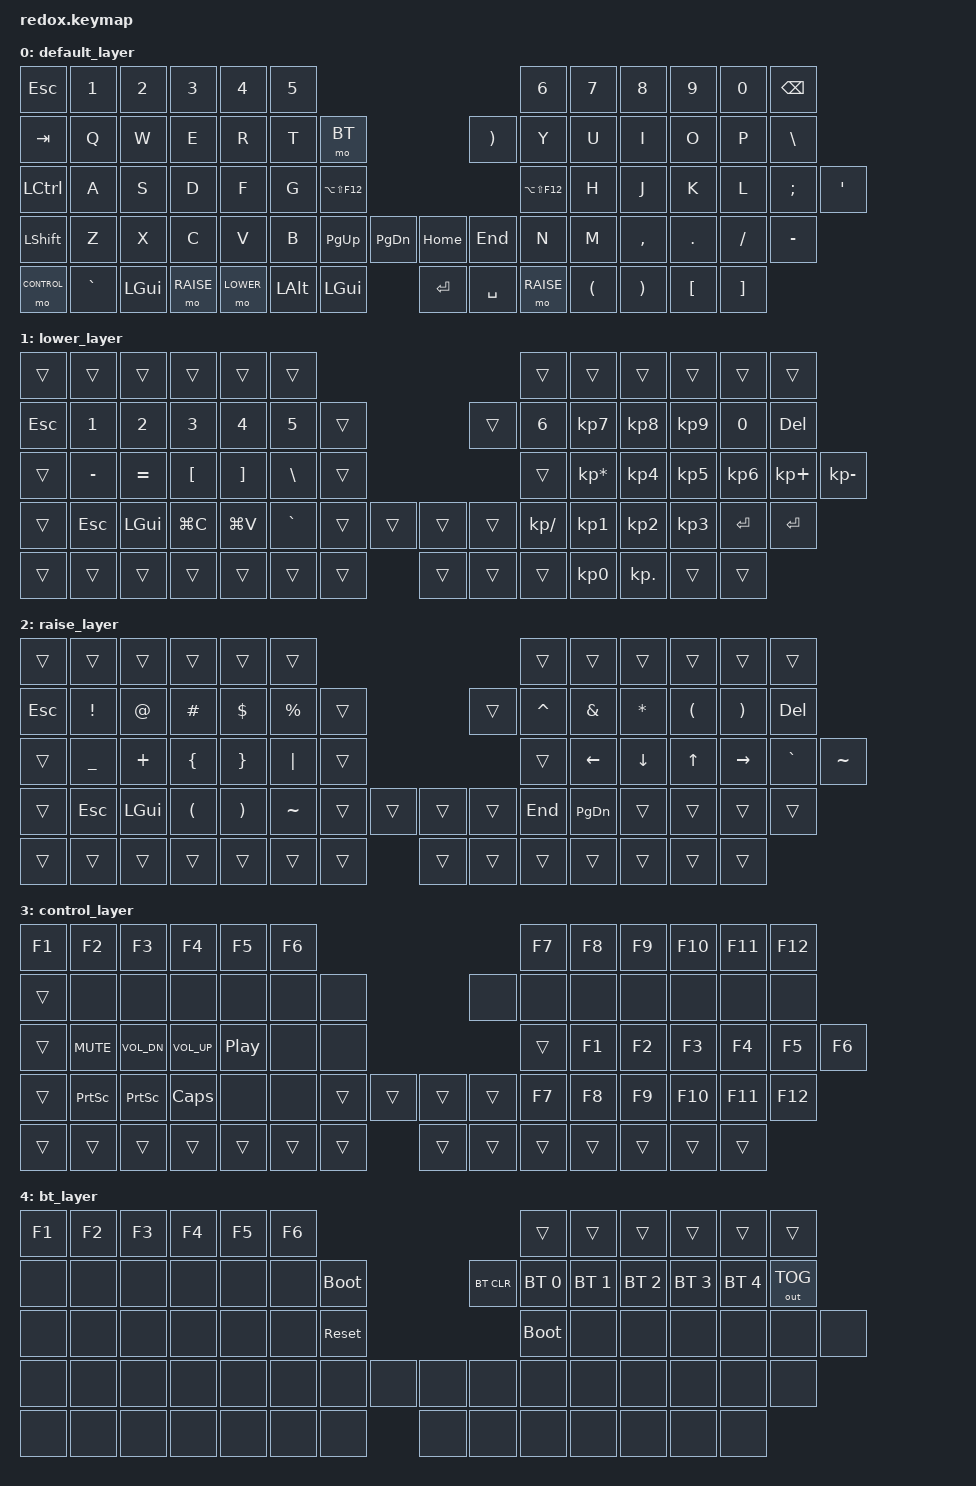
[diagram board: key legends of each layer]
/* vim: set syntax=c: */
/*
 * Copyright (c) 2021 The ZMK Contributors
 *
 * SPDX-License-Identifier: MIT
 */

#include <behaviors.dtsi>
#include <dt-bindings/zmk/keys.h>
#include <dt-bindings/zmk/bt.h>
#include <dt-bindings/zmk/ext_power.h>
#include <dt-bindings/zmk/outputs.h>

#define DEFAULT 0
#define LOWER 1
#define RAISE 2
#define CONTROL 3
#define BT 4

/ {
    keymap {
        compatible =  "zmk,keymap" ;

        default_layer {
// ,-------------------------------------------.                     ,-------------------------------------------.
// |  Esc   |  1   |  2   |  3   |  4   |  5   |                     |  6   |  7   |  8   |  9   |  0   | Bckspc |
// |--------+------+------+------+------+-------------.       ,------+------+------+------+------+------+--------|
// |  Tab   |   Q  |   W  |   E  |   R  |   T  |  L4  |       |  )   |   Y  |   U  |   I  |   O  |   P  | \   |  |
// |--------+------+------+------+------+------|------|       |------|------+------+------+------+------+--------|
// |  Ctrl  |   A  |   S  |  D   |   F  |   G  |      |       |      |   H  |   J  |   K  |   L  | ;  : |  ' "   |
// |--------+------+------+------+------+------| DICT |       | DICT |------+------+------+------+------+--------|
// | LShift |   Z  |   X  |   C  |   V  |   B  |      |       |      |   N  |   M  | ,  < | . >  | /  ? |  - _   |
// `--------+------+------+------+------+-------------'       `-------------+------+------+------+------+--------'
//   |  L3  |  `~  | GUI  |  L2  |  L1    |                               |   L2   |  (   |  )   |  [   |  ]   |
//   `------------------------------------'                               '-----------------------------------'
//                                    ,---------------.       ,---------------.
//                                    | PgUp  | PgDn  |       | Home  | End   |
//                                    ,-------|-------|       ,-------|-------|
//                                    |       |       |       |       |       |
//                                    |  Alt  |  GUI  |       | Enter | Space |
//                                    |       |       |       |       |       |
//                                    `---------------`       `---------------`
            bindings = <
&kp ESC     &kp N1    &kp N2    &kp N3  &kp N4  &kp N5                                              &kp N6     &kp N7    &kp N8     &kp N9    &kp N0     &kp BSPC
&kp TAB     &kp Q     &kp W     &kp E   &kp R   &kp T   &mo BT                           &kp RPAR   &kp Y      &kp U     &kp I      &kp O     &kp P      &kp BACKSLASH
// Dictation push-to-talk. A real modified keycode, not F13: F13 reaches evdev
// but xkb drops it, so Wayland apps never see it and OpenWhispr's hotkey
// capture can't record it.
&kp LCTRL   &kp A     &kp S     &kp D   &kp F   &kp G   &kp LA(LS(F12))                    &kp LA(LS(F12))        &kp H  &kp J  &kp K   &kp L     &kp SEMI   &kp SQT
&kp LSHFT   &kp Z     &kp X     &kp C   &kp V   &kp B   &kp PG_UP  &kp PG_DN  &kp HOME   &kp END    &kp N      &kp M     &kp COMMA  &kp DOT   &kp SLASH  &kp MINUS
&mo CONTROL &kp GRAVE &kp LGUI &mo RAISE &mo LOWER      &kp LALT   &kp LGUI   &kp ENTER  &kp SPACE  &mo RAISE  &kp LPAR  &kp RPAR   &kp LBKT  &kp RBKT
            >;

        };
        
        lower_layer {
// ,-------------------------------------------.                     ,-------------------------------------------.
// |        |      |      |      |      |      |                     |      |      |      |      |      |        |
// |--------+------+------+------+------+-------------.       ,------+------+------+------+------+------+--------|
// |        |   1  |   2  |   3  |   4  |   5  |      |       |      |   6  |  7   |  8   |  9   |  0   |  DEL   |
// |--------+------+------+------+------+------|------|       |------|------+------+------+------+------+--------|
// |        |   -  |   =  |  [   |   ]  |   \  |      |       |      |   *  |  4   |  5   |  6   |  +   |   -    |
// |--------+------+------+------+------+------|      |       |      |------+------+------+------+------+--------|
// |        | Esc  | GUI  | COPY |PASTE |  `~  |      |       |      |   \  |   1  |  2   |  3   | RET  |  RET   |
// `--------+------+------+------+------+-------------'       `-------------+------+------+------+------+--------'
//   |      |      |      |      |        |                               |        |  0   |  .   |      |      |
//   `------------------------------------'                               '-----------------------------------'
//                                    ,---------------.       ,---------------.
//                                    |       |       |       |       |       |
//                                    ,-------|-------|       ,-------|-------|
//                                    |       |       |       |       |       |
//                                    |       |       |       |       |       |
//                                    |       |       |       |       |       |
//                                    `---------------`       `---------------`
            bindings = <
   &trans  &trans    &trans    &trans    &trans    &trans                                &trans          &trans    &trans    &trans    &trans      &trans
   &kp ESC &kp N1    &kp N2    &kp N3    &kp N4    &kp N5    &trans               &trans &kp N6          &kp KP_N7 &kp KP_N8 &kp KP_N9 &kp N0      &kp DEL
   &trans  &kp MINUS &kp EQUAL &kp LBKT  &kp RBKT  &kp BSLH  &trans               &trans &kp KP_MULTIPLY &kp KP_N4 &kp KP_N5 &kp KP_N6 &kp KP_PLUS &kp KP_MINUS
   &trans  &kp ESC   &kp LGUI  &kp LG(C) &kp LG(V) &kp GRAVE &trans &trans &trans &trans &kp KP_DIVIDE   &kp KP_N1 &kp KP_N2 &kp KP_N3 &kp RET     &kp RET
   &trans  &trans    &trans    &trans          &trans        &trans &trans &trans &trans          &trans           &kp KP_N0    &kp KP_DOT &trans      &trans
            >;
        };

        raise_layer {
// ,-------------------------------------------.                     ,-------------------------------------------.
// |        |      |      |      |      |      |                     |      |      |      |      |      |        |
// |--------+------+------+------+------+-------------.       ,------+------+------+------+------+------+--------|
// |  ESC   |   !  |   @  |   #  |  $   |  %   |      |       |      |   ^  |  &   |  *   |  (   |  )   |  DEL   |
// |--------+------+------+------+------+------|------|       |------|------+------+------+------+------+--------|
// |        |   _  |   +  |  {   |  }   |  |   |      |       |      | Left | Down |  Up  |Right |  `   |   ~    |
// |--------+------+------+------+------+------|      |       |      |------+------+------+------+------+--------|
// |        | Esc  | GUI  |  (   |  )   |  ~   |      |       |      |      |      |      |      |      |        |
// `--------+------+------+------+------+-------------'       `-------------+------+------+------+------+--------'
//   |      |      |      |      |        |                               |        |      |      |      |      |
//   `------------------------------------'                               '-----------------------------------'
//                                    ,---------------.       ,---------------.
//                                    |       |       |       |       |       |
//                                    ,-------|-------|       ,-------|-------|
//                                    |       |       |       |       |       |
//                                    |       |       |       |       |       |
//                                    |       |       |       |       |       |
//                                    `---------------`       `---------------`
            bindings = <
   &trans  &trans    &trans   &trans   &trans   &trans                                &trans    &trans    &trans    &trans    &trans    &trans
   &kp ESC &kp EXCL  &kp AT   &kp HASH &kp DLLR &kp PRCNT &trans               &trans &kp CARET &kp AMPS  &kp ASTRK &kp LPAR  &kp RPAR  &kp DEL
   &trans  &kp UNDER &kp PLUS &kp LBRC &kp RBRC &kp PIPE  &trans               &trans &kp LEFT  &kp DOWN  &kp UP    &kp RIGHT &kp GRAVE &kp TILDE
   &trans  &kp ESC   &kp LGUI &kp LPAR &kp RPAR &kp TILDE &trans &trans &trans &trans &kp END   &kp PG_DN &trans    &trans    &trans    &trans
   &trans  &trans    &trans   &trans        &trans        &trans &trans &trans &trans        &trans       &trans    &trans    &trans    &trans
            >;
        };
        
        control_layer {
// ,-------------------------------------------.                     ,-------------------------------------------.
// |   F1   |  F2  |  F3  |  F4  |  F5  |  F6  |                     |  F7  |  F8  |  F9  | F10  | F11  |  F12   |
// |--------+------+------+------+------+-------------.       ,------+------+------+------+------+------+--------|
// |        |      |      |      |      |      |      |       |      |      |      |      |      |      |        |
// |--------+------+------+------+------+------|------|       |------|------+------+------+------+------+--------|
// |        | Mute |VolDn |VolUp | Play |      |      |       |      |  F1  |  F2  |  F3  |  F4  |  F5  |  F6    |
// |--------+------+------+------+------+------|      |       |      |------+------+------+------+------+--------|
// |        |PrtSc |PrtSc | CLCK |      |      |      |       |      |  F7  |  F8  |  F9  | F10  | F11  |  F12   |
// `--------+------+------+------+------+-------------'       `-------------+------+------+------+------+--------'
//   |      |      |      |      |        |                               |        |      |      |      |      |
//   `------------------------------------'                               '-----------------------------------'
//                                    ,---------------.       ,---------------.
//                                    |       |       |       |       |       |
//                                    ,-------|-------|       ,-------|-------|
//                                    |       |       |       |       |       |
//                                    |       |       |       |       |       |
//                                    |       |       |       |       |       |
//                                    `---------------`       `---------------`
        bindings = <
   &kp F1  &kp F2     &kp F3       &kp F4       &kp F5           &kp F6                                 &kp F7       &kp F8       &kp F9       &kp F10      &kp F11       &kp F12
   &trans  &none      &none        &none        &none            &none  &none                &none      &none        &none        &none        &none        &none         &none
   &trans  &kp K_MUTE &kp C_VOL_DN &kp C_VOL_UP &kp C_PLAY_PAUSE &none  &none                &trans     &kp F1       &kp F2       &kp F3       &kp F4       &kp F5        &kp F6
   &trans  &kp PSCRN  &kp PSCRN    &kp CLCK     &none            &none  &trans &trans &trans &trans     &kp F7       &kp F8       &kp F9       &kp F10      &kp F11       &kp F12
   &trans  &trans     &trans       &trans              &trans           &trans &trans &trans &trans          &trans           &trans       &trans       &trans        &trans
            >;
        };

        bt_layer {
// ,-------------------------------------------.                     ,-------------------------------------------.
// |        |      |      |      |      |      |                     |      |      |      |      |      |        |
// |--------+------+------+------+------+-------------.       ,------+------+------+------+------+------+--------|
// |        |      |      |      |      |      |      |       |BT_CLR|BT S0 |BT S1 |BT S2 |BT S3 |BT S4 |OUT_TOG |
// |--------+------+------+------+------+------|------|       |------|------+------+------+------+------+--------|
// |        |      |      |      |      |      |      |       |      |      |      |      |      |      |        |
// |--------+------+------+------+------+------| Rst  |       |BtLdr |------+------+------+------+------+--------|
// |        |      |      |      |      |      |      |       |      |      |      |      |      |      |        |
// `--------+------+------+------+------+-------------'       `-------------+------+------+------+------+--------'
//   |      |      |      |      |        |                               |        |      |      |      |      |
//   `------------------------------------'                               '-----------------------------------'
//                                    ,---------------.       ,---------------.
//                                    |       |       |       |       |       |
//                                    ,-------|-------|       ,-------|-------|
//                                    |       |       |       |       |       |
//                                    |       |       |       |       |       |
//                                    |       |       |       |       |       |
//                                    `---------------`       `---------------`
        bindings = <
   &kp F1  &kp F2     &kp F3      &kp F4      &kp F5           &kp F6                               &trans       &trans       &trans       &trans       &trans        &trans
   &none   &none      &none       &none       &none            &none  &bootloader       &bt BT_CLR  &bt BT_SEL 0 &bt BT_SEL 1 &bt BT_SEL 2 &bt BT_SEL 3 &bt BT_SEL 4  &out OUT_TOG
   &none   &none      &none       &none       &none            &none  &sys_reset        &bootloader &none        &none        &none        &none        &none         &none
   &none   &none      &none       &none       &none            &none  &none &none &none &none       &none        &none        &none        &none        &none         &none
   &none   &none      &none       &none              &none            &none &none &none &none             &none               &none        &none        &none         &none
            >;
        };
    };
};
